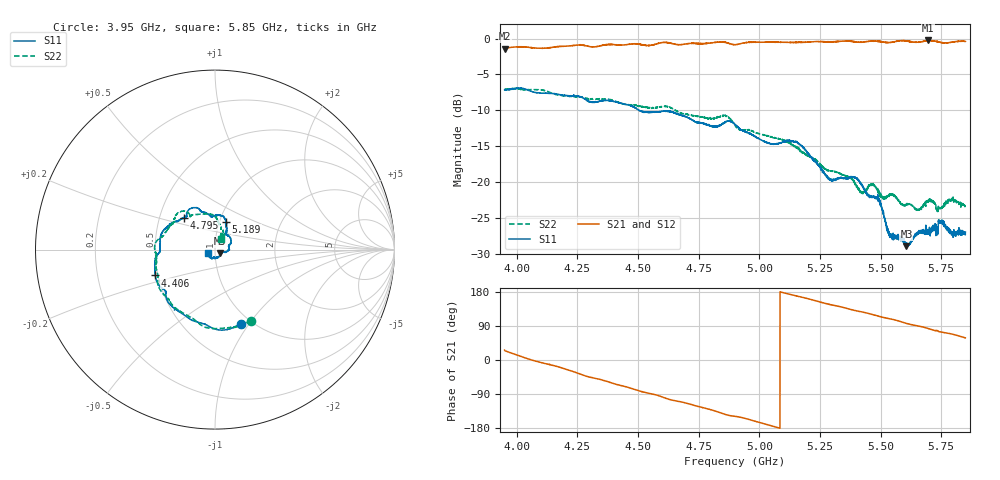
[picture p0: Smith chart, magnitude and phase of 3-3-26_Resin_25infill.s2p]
# GHZ S RI R 50.000000000000
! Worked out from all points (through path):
!   4501 points, 3.95 GHz to 5.85 GHz, reference 50 ohm
!   highest |S21| = -0.26 dB at 5.694 GHz (marker M1); lowest = -1.4 dB at 3.952 GHz (marker M2)
!   lowest |S11| = -29.0 dB at 5.607 GHz (marker M3), VSWR 1.07, Z = 52.9 - j2.28 ohm
!   |S11| at or under -10 dB: 4.504 GHz to end of sweep
!   |S22| runs from -24.2 to -7.0 dB; largest |S21 - S12| = 0.066
!   S11 on the Smith chart (normalised r, x): 3.95 GHz: 0.90, -0.92; 4.406 GHz: 0.48, -0.16; 4.795 GHz: 0.67, +0.25; 5.189 GHz: 1.07, +0.35; 5.85 GHz: 0.92, -0.03
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3.95  0.1456 -0.4134  0.7653 0.3749  0.7723 0.3364  0.2024 -0.3972
3.951689  0.1455 -0.4156  0.7754 0.3525  0.7686 0.338  0.1899 -0.4005
4.055133  -0.0284 -0.4307  0.8674 0.0202  0.879 0.0295  0.0305 -0.4395
4.175889  -0.1547 -0.3764  0.8328 -0.2854  0.8245 -0.2699  -0.1272 -0.3819
4.267089  -0.2638 -0.2873  0.7066 -0.5596  0.724 -0.5559  -0.2338 -0.3135
4.406422  -0.3322 -0.1437  0.4045 -0.8116  0.4266 -0.7887  -0.32 -0.1794
4.484111  -0.3297 -0.0432  0.2045 -0.8976  0.2253 -0.9032  -0.3302 -0.1008
4.583756  -0.306 0.0377  -0.0624 -0.9236  -0.0292 -0.9168  -0.3308 -0.0142
4.795289  -0.1714 0.1783  -0.6036 -0.7093  -0.5765 -0.7222  -0.2344 0.1457
4.9  -0.0977 0.2311  -0.7746 -0.472  -0.7711 -0.4867  -0.1453 0.2019
5.037644  -0.0228 0.1853  -0.9347 -0.141  -0.9292 -0.1748  -0.0624 0.2002
5.189222  0.062 0.1563  -0.9045 0.2678  -0.9088 0.2354  0.0185 0.1559
5.217089  0.0623 0.1335  -0.8868 0.3413  -0.8983 0.3049  0.0204 0.1456
5.293089  0.0593 0.0871  -0.7906 0.5242  -0.8024 0.5137  0.0366 0.114
5.404556  0.09 0.0557  -0.5952 0.7326  -0.6233 0.708  0.0499 0.078
5.493644  0.0731 -0.00277  -0.4087 0.8652  -0.4498 0.8538  0.0415 0.076
5.533756  0.0428 -0.0133  -0.3108 0.8844  -0.3445 0.8772  0.0307 0.0738
5.6068  0.0284 -0.0216  -0.112 0.9558  -0.1666 0.9419  0.034 0.0604
5.6942  0.00925 -0.0457  0.1122 0.964  0.0682 0.9659  0.038 0.062
5.747822  -0.0217 -0.0483  0.2584 0.9054  0.217 0.9079  0.0315 0.0574
5.790044  -0.0369 -0.024  0.3351 0.8798  0.2874 0.8886  0.0319 0.0693
5.85  -0.0408 -0.0183  0.5017 0.8149  0.4669 0.8419  0.0312 0.0602
